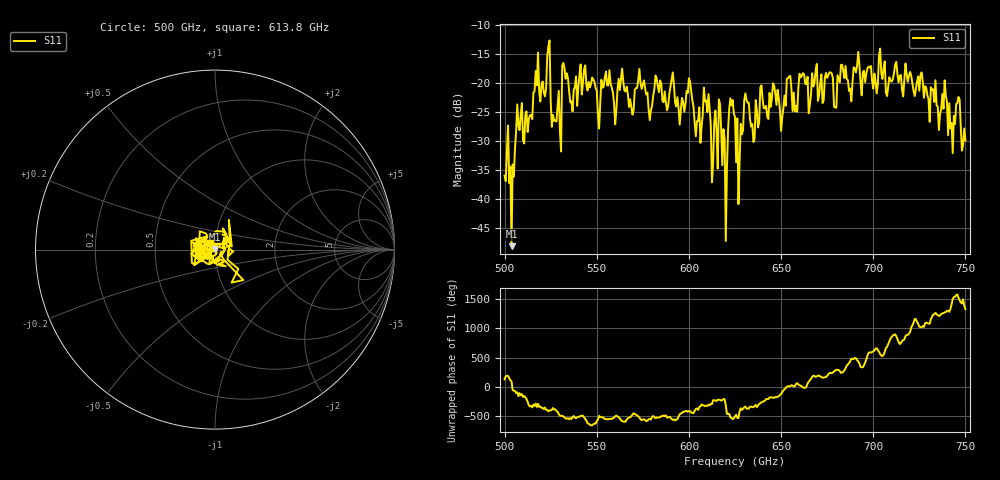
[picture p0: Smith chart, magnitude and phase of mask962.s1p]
!Created with skrf (http://scikit-rf.org).
# GHz S MA R 50.0
!freq magS11 angS11
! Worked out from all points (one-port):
!   401 points, 500 GHz to 750 GHz, reference 50 ohm
!   lowest |S11| = -48.1 dB at 503.8 GHz (marker M1), VSWR 1.01, Z = 50 + j0.392 ohm
!   |S11| at or under -10 dB: start of sweep to end of sweep
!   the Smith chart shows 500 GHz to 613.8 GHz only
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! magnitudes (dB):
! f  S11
! 500 GHz  -36.0
! 503.8 GHz  -48.1
! 508.1 GHz  -28.2
! 513.8 GHz  -25.6
! 516.9 GHz  -18.0
! 523.8 GHz  -13.7
! 526.9 GHz  -26.5
! 531.2 GHz  -17.1
! 532.5 GHz  -17.5
! 550.6 GHz  -25.4
! 562.5 GHz  -21.3
! 593.8 GHz  -22.5
! 609.4 GHz  -23.0
! 612.5 GHz  -37.1
! 617.5 GHz  -27.9
! 619.4 GHz  -29.6
! 622.5 GHz  -22.7
! 625 GHz  -25.9
! 626.9 GHz  -40.9
! 631.2 GHz  -23.0
! 634.4 GHz  -27.1
! 656.2 GHz  -24.9
! 687.5 GHz  -21.0
! 718.8 GHz  -19.8
! 738.8 GHz  -19.6
! 741.9 GHz  -27.9
! 746.2 GHz  -22.4
! 750 GHz  -29.9
